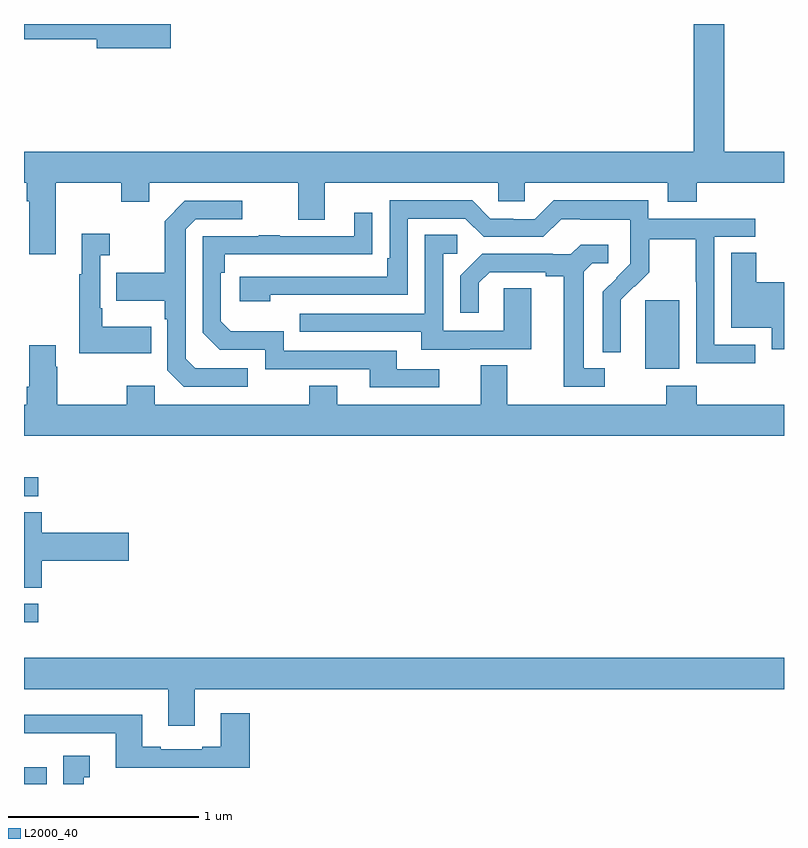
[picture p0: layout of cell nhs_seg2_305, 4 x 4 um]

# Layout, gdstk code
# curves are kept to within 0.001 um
import gdstk
lib = gdstk.Library(unit=1e-6, precision=1e-09)
def R(c, l, rs):  # rectangles x0, y0, x1, y1
    for r in rs: c.add(gdstk.rectangle(r[:2], r[2:], *l))
def P(c, l, *ps):  # polygons
    for p in ps: c.add(gdstk.Polygon(p, *l))
L2000_40 = (2000, 40)

nhs_seg2_305 = lib.new_cell('nhs_seg2_305')
R(nhs_seg2_305, L2000_40, [(125,649.8,125.119,649.888), (125,650.652,125.074,650.748), (125,651.315,125.074,651.414), (128.27,651.986,128.449,652.347)])
P(nhs_seg2_305, L2000_40, [(125.773,653.8),(125,653.8),(125,653.719),(125.384,653.719),(125.384,653.672),(125.773,653.672)],
  [(125.167,652.964),(125.512,652.964),(125.512,652.865),(125.659,652.865),(125.659,652.964),(126.443,652.964),(126.443,652.77),(126.583,652.77),(126.583,652.964),(127.497,652.964),(127.497,652.866),(127.635,652.866),(127.635,652.964),(128.387,652.964),(128.387,652.865),(128.54,652.865),(128.54,652.964),(129,652.964),(129,653.128),(128.685,653.128),(128.685,653.8),(128.525,653.8),(128.525,653.128),(125,653.128),(125,652.964),(125.015,652.964),(125.015,652.868),(125.027,652.868),(125.027,652.587),(125.167,652.587)],
  [(128.848,652.113),(128.634,652.113),(128.634,652.68),(128.848,652.68),(128.848,652.776),(128.286,652.776),(128.286,652.873),(127.789,652.873),(127.689,652.773),(127.574,652.773),(127.574,652.776),(127.455,652.776),(127.359,652.872),(126.924,652.872),(126.924,652.567),(126.911,652.567),(126.911,652.47),(126.135,652.47),(126.135,652.34),(126.296,652.34),(126.296,652.374),(127.02,652.374),(127.02,652.776),(127.323,652.776),(127.419,652.68),(127.734,652.68),(127.827,652.773),(127.927,652.773),(127.927,652.769),(128.19,652.769),(128.19,652.635),(128.192,652.635),(128.192,652.538),(128.046,652.39),(128.046,652.072),(128.142,652.072),(128.141,652.349),(128.211,652.419),(128.214,652.416),(128.291,652.493),(128.291,652.668),(128.536,652.668),(128.536,652.444),(128.538,652.444),(128.538,652.015),(128.848,652.015)],
  [(126.178,651.987),(125.901,651.987),(125.85,652.038),(125.85,652.719),(125.904,652.773),(126.148,652.773),(126.148,652.869),(125.847,652.869),(125.742,652.763),(125.742,652.491),(125.485,652.491),(125.485,652.343),(125.742,652.343),(125.742,652.247),(125.754,652.247),(125.754,651.978),(125.841,651.891),(126.178,651.891)],
  [(127.186,651.984),(126.961,651.984),(126.961,652.08),(126.366,652.08),(126.366,652.183),(126.089,652.183),(126.036,652.236),(126.036,652.49),(126.056,652.49),(126.056,652.587),(126.833,652.588),(126.833,652.807),(126.737,652.807),(126.737,652.683),(126.347,652.683),(126.347,652.688),(126.235,652.688),(126.235,652.683),(125.94,652.683),(125.94,652.176),(126.03,652.086),(126.27,652.086),(126.27,651.984),(126.821,651.984),(126.821,651.888),(127.186,651.888)],
  [(125.669,652.207),(125.413,652.207),(125.413,652.303),(125.4,652.303),(125.4,652.583),(125.452,652.583),(125.452,652.696),(125.303,652.696),(125.303,652.483),(125.292,652.483),(125.292,652.067),(125.669,652.067)],
  [(127.345,652.089),(127.669,652.089),(127.669,652.409),(127.524,652.409),(127.524,652.185),(127.206,652.185),(127.206,652.59),(127.279,652.59),(127.279,652.691),(127.11,652.691),(127.11,652.275),(126.451,652.275),(126.451,652.179),(127.091,652.179),(127.091,652.085),(127.345,652.085)],
  [(128.056,651.987),(127.945,651.987),(127.945,652.495),(127.992,652.542),(128.074,652.542),(128.074,652.639),(127.93,652.639),(127.878,652.587),(127.784,652.587),(127.784,652.59),(127.412,652.59),(127.296,652.474),(127.296,652.281),(127.393,652.281),(127.393,652.437),(127.45,652.494),(127.745,652.494),(127.745,652.472),(127.841,652.472),(127.841,651.891),(128.056,651.891)],
  [(129,652.441),(128.854,652.441),(128.854,652.595),(128.723,652.595),(128.723,652.202),(128.936,652.202),(128.936,652.089),(129,652.089)],
  [(129,651.796),(128.54,651.796),(128.54,651.895),(128.38,651.895),(128.38,651.796),(127.543,651.796),(127.543,652.004),(127.403,652.004),(127.403,651.796),(126.649,651.796),(126.649,651.895),(126.502,651.895),(126.502,651.796),(125.688,651.796),(125.688,651.895),(125.542,651.895),(125.542,651.796),(125.175,651.796),(125.175,651.995),(125.167,651.995),(125.167,652.108),(125.027,652.108),(125.027,651.892),(125.015,651.892),(125.015,651.796),(125,651.796),(125,651.632),(129,651.632)],
  [(125.093,650.975),(125.551,650.975),(125.551,651.122),(125.093,651.122),(125.093,651.23),(125,651.23),(125,650.833),(125.093,650.833)],
  [(125.899,650.3),(129,650.3),(129,650.464),(125,650.464),(125,650.3),(125.759,650.3),(125.759,650.106),(125.899,650.106)],
  [(126.188,650.173),(126.035,650.173),(126.035,649.996),(125.939,649.996),(125.939,649.983),(125.719,649.983),(125.719,649.996),(125.623,649.996),(125.623,650.164),(125,650.164),(125,650.067),(125.483,650.067),(125.483,649.886),(126.188,649.886)],
  [(125.314,649.835),(125.347,649.835),(125.347,649.948),(125.207,649.948),(125.207,649.8),(125.314,649.8)])

lib.write_gds('nhs_seg2_305.gds')
